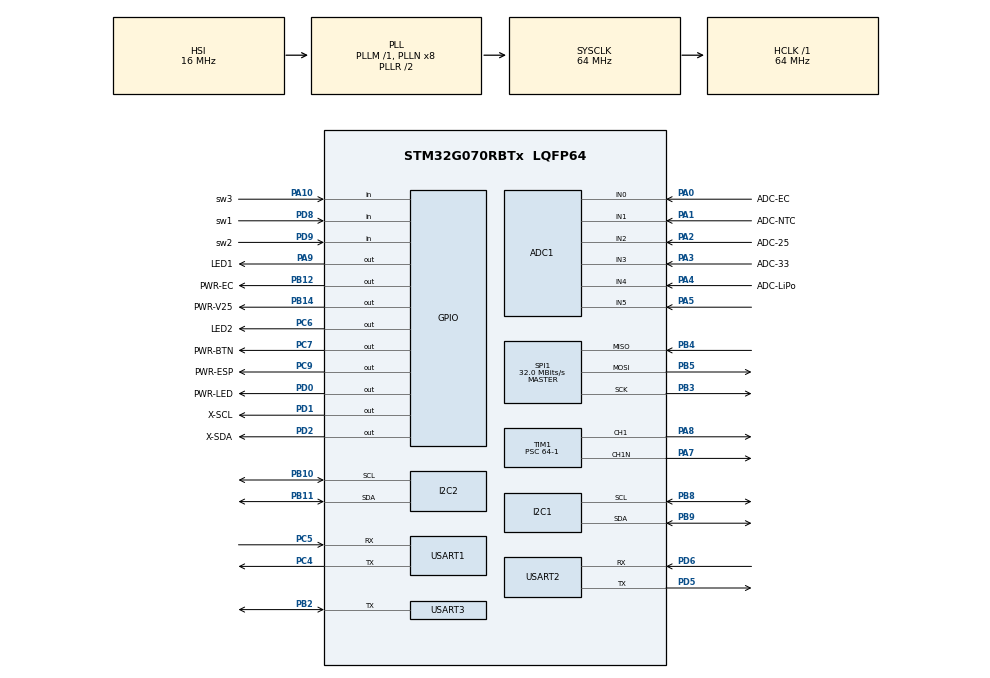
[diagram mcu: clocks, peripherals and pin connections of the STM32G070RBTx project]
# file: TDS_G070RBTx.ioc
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ADC1.Channel-0\#ChannelRegularConversion=ADC_CHANNEL_0
ADC1.NbrOfConversionFlag=1
ADC1.Rank-0\#ChannelRegularConversion=1
ADC1.SamplingTime-0\#ChannelRegularConversion=ADC_SAMPLINGTIME_COMMON_1
ADC1.SelectedChannel=ADC_CHANNEL_0|ADC_CHANNEL_1|ADC_CHANNEL_2|ADC_CHANNEL_3|ADC_CHANNEL_4|ADC_CHANNEL_5|ADC_CHANNEL_VREFINT|ADC_CHANNEL_VBAT
ADC1.master=1
Dma.Request0=USART1_TX
Dma.USART1_TX.0.Direction=DMA_MEMORY_TO_PERIPH
Dma.USART1_TX.0.EventEnable=DISABLE
Dma.USART1_TX.0.Instance=DMA1_Channel1
Dma.USART1_TX.0.MemDataAlignment=DMA_MDATAALIGN_BYTE
Dma.USART1_TX.0.MemInc=DMA_MINC_ENABLE
Dma.USART1_TX.0.Mode=DMA_NORMAL
Dma.USART1_TX.0.PeriphDataAlignment=DMA_PDATAALIGN_BYTE
Dma.USART1_TX.0.PeriphInc=DMA_PINC_DISABLE
Dma.USART1_TX.0.Polarity=HAL_DMAMUX_REQ_GEN_RISING
Dma.USART1_TX.0.Priority=DMA_PRIORITY_LOW
Dma.USART1_TX.0.RequestNumber=1
Dma.USART1_TX.0.SignalID=NONE
Dma.USART1_TX.0.SyncEnable=DISABLE
Dma.USART1_TX.0.SyncPolarity=HAL_DMAMUX_SYNC_NO_EVENT
Dma.USART1_TX.0.SyncRequestNumber=1
Dma.USART1_TX.0.SyncSignalID=NONE
FREERTOS.Tasks01=defaultTask,24,128,StartDefaultTask,Default,NULL,Dynamic,NULL,NULL;blinkTask,8,128,startBlinkTask,Default,NULL,Dynamic,NULL,NULL;ds18b20Task,8,128,startDs18b20Task,Default,NULL,Dynamic,NULL,NULL;ntcTask,8,128,startNtcTask,Default,NULL,Dynamic,NULL,NULL;numDisplayTask,8,128,startNumDisplayTask,Default,NULL,Dynamic,NULL,NULL;uartTask,8,128,startUartTask,Default,NULL,Dynamic,NULL,NULL;ecTask,8,128,startEcTask,Default,NULL,Dynamic,NULL,NULL
FREERTOS.configTOTAL_HEAP_SIZE=4608
I2C1.Timing=0x10707DBC
I2C2.Timing=0x10707DBC
Mcu.Family=STM32G0
Mcu.Name=STM32G070RBTx
Mcu.Package=LQFP64
NVIC.DMA1_Channel1_IRQn=true\:3\:0\:false\:false\:true\:true\:false\:true
NVIC.TIM17_IRQn=true\:3\:0\:false\:false\:true\:false\:false\:true
NVIC.TimeBase=TIM17_IRQn
NVIC.TimeBaseIP=TIM17
PA0.GPIO_Label=ADC-EC
PA0.Mode=IN0
PA0.Signal=ADC1_IN0
PA1.GPIO_Label=ADC-NTC
PA1.Mode=IN1
PA1.Signal=ADC1_IN1
PA10.GPIO_Label=sw3
PA10.Signal=GPIO_Input
PA13.Mode=Serial_Wire
PA13.Signal=SYS_SWDIO
PA14-BOOT0.Mode=Serial_Wire
PA14-BOOT0.Signal=SYS_SWCLK
PA2.GPIO_Label=ADC-25
PA2.Mode=IN2
PA2.Signal=ADC1_IN2
PA3.GPIO_Label=ADC-33
PA3.Mode=IN3
PA3.Signal=ADC1_IN3
PA4.GPIO_Label=ADC-LiPo
PA4.Mode=IN4
PA4.Signal=ADC1_IN4
PA5.Mode=IN5
PA5.Signal=ADC1_IN5
PA7.Mode=Output Compare1 CH1 CH1N
PA7.Signal=TIM1_CH1N
PA8.Signal=S_TIM1_CH1
PA9.GPIO_Label=LED1
PA9.Signal=GPIO_Output
PB10.Mode=I2C
PB10.Signal=I2C2_SCL
PB11.Mode=I2C
PB11.Signal=I2C2_SDA
PB12.GPIO_Label=PWR-EC
PB12.Signal=GPIO_Output
PB14.GPIO_Label=PWR-V25
PB14.Signal=GPIO_Output
PB2.Mode=Half_duplex(single_wire_mode)
PB2.Signal=USART3_TX
PB3.Mode=Full_Duplex_Master
PB3.Signal=SPI1_SCK
PB4.Mode=Full_Duplex_Master
PB4.Signal=SPI1_MISO
PB5.Mode=Full_Duplex_Master
PB5.Signal=SPI1_MOSI
PB8.Mode=I2C
PB8.Signal=I2C1_SCL
PB9.Mode=I2C
PB9.Signal=I2C1_SDA
PC14-OSC32_IN\ (PC14).Mode=LSE-External-Oscillator
PC14-OSC32_IN\ (PC14).Signal=RCC_OSC32_IN
PC15-OSC32_OUT\ (PC15).Mode=LSE-External-Oscillator
PC15-OSC32_OUT\ (PC15).Signal=RCC_OSC32_OUT
PC4.Mode=Asynchronous
PC4.Signal=USART1_TX
PC5.Mode=Asynchronous
PC5.Signal=USART1_RX
PC6.GPIO_Label=LED2
PC6.Signal=GPIO_Output
PC7.GPIO_Label=PWR-BTN
PC7.Signal=GPIO_Output
PC9.GPIO_Label=PWR-ESP
PC9.GPIO_ModeDefaultOutputPP=GPIO_MODE_OUTPUT_OD
PC9.GPIO_PuPd=GPIO_NOPULL
PC9.Signal=GPIO_Output
PD0.GPIO_Label=PWR-LED
PD0.GPIO_ModeDefaultOutputPP=GPIO_MODE_OUTPUT_OD
PD0.GPIO_PuPd=GPIO_NOPULL
PD0.Signal=GPIO_Output
PD1.GPIO_Label=X-SCL
PD1.Signal=GPIO_Output
PD2.GPIO_Label=X-SDA
PD2.Signal=GPIO_Output
PD5.Mode=Asynchronous
PD5.Signal=USART2_TX
PD6.Mode=Asynchronous
PD6.Signal=USART2_RX
PD8.GPIO_Label=sw1
PD8.Signal=GPIO_Input
PD9.GPIO_Label=sw2
PD9.Signal=GPIO_Input
ProjectManager.HeapSize=0x200
ProjectManager.StackSize=0x400
ProjectManager.TargetToolchain=Makefile
RCC.ADCFreq_Value=64000000
RCC.AHBFreq_Value=64000000
RCC.CortexFreq_Value=64000000
RCC.EXTERNAL_CLOCK_VALUE=48000
RCC.EnableCSSLSE=true
RCC.HCLKFreq_Value=64000000
RCC.HSE_VALUE=8000000
RCC.HSI_VALUE=16000000
RCC.RTCClockSelection=RCC_RTCCLKSOURCE_LSE
RCC.SYSCLKFreq_VALUE=64000000
RCC.SYSCLKSource=RCC_SYSCLKSOURCE_PLLCLK
RCC.VCOOutputFreq_Value=128000000
SH.S_TIM1_CH1.0=TIM1_CH1,Output Compare1 CH1 CH1N
SPI1.CalculateBaudRate=32.0 MBits/s
SPI1.Direction=SPI_DIRECTION_2LINES
SPI1.Mode=SPI_MODE_MASTER
SPI1.VirtualType=VM_MASTER
TIM1.Channel-Output\ Compare1\ CH1\ CH1N=TIM_CHANNEL_1
TIM1.DeadTime=20
TIM1.OCMode_1=TIM_OCMODE_TOGGLE
TIM1.Period=100-1
TIM1.Prescaler=64-1
TIM1.TIM_MasterOutputTrigger=TIM_TRGO_ENABLE
TIM1.TIM_MasterSlaveMode=TIM_MASTERSLAVEMODE_ENABLE
TIM3.Period=0xffff-1
TIM3.Prescaler=64-1
USART1.VirtualMode-Asynchronous=VM_ASYNC
USART2.VirtualMode-Asynchronous=VM_ASYNC
USART3.VirtualMode-Half_duplex(single_wire_mode)=VM_ASYNC
VP_ADC1_Vbat_Input.Mode=IN-Vbat
VP_ADC1_Vref_Input.Mode=IN-Vrefint
VP_FREERTOS_VS_CMSIS_V2.Mode=CMSIS_V2
VP_RTC_VS_RTC_Activate.Mode=RTC_Enabled
VP_SYS_VS_DBSignals.Mode=DisableDeadBatterySignals
VP_SYS_VS_tim17.Mode=TIM17
VP_TIM3_VS_ClockSourceINT.Mode=Internal
board=custom

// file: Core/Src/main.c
/* USER CODE BEGIN Header */
/**
  ******************************************************************************
  * @file           : main.c
  * @brief          : Main program body
  ******************************************************************************
  * @attention
  *
  * Copyright (c) 2022 STMicroelectronics.
  * All rights reserved.
  *
  * This software is licensed under terms that can be found in the LICENSE file
  * in the root directory of this software component.
  * If no LICENSE file comes with this software, it is provided AS-IS.
  *
  ******************************************************************************
  */
/* USER CODE END Header */
#include "main.h"
#include "cmsis_os.h"
#include "adc.h"
#include "dma.h"
#include "i2c.h"
#include "rtc.h"
#include "spi.h"
#include "tim.h"
#include "usart.h"
#include "gpio.h"

void SystemClock_Config(void);
void MX_FREERTOS_Init(void);

int main(void)
{

  /* MCU Configuration--------------------------------------------------------*/

  /* Reset of all peripherals, Initializes the Flash interface and the Systick. */
  HAL_Init();

  /* Configure the system clock */
  SystemClock_Config();

  /* Initialize all configured peripherals */
  MX_GPIO_Init();
  MX_ADC1_Init();
  MX_I2C1_Init();
  MX_I2C2_Init();
  MX_SPI1_Init();
  MX_TIM1_Init();
  MX_USART1_UART_Init();
  MX_USART2_UART_Init();
  MX_USART3_UART_Init();
  MX_RTC_Init();
  MX_DMA_Init();
  MX_TIM3_Init();
  /* USER CODE BEGIN 2 */
  HAL_TIM_Base_Start(&htim3);
  /* USER CODE END 2 */

  /* Init scheduler */
  osKernelInitialize();  /* Call init function for freertos objects (in freertos.c) */
  MX_FREERTOS_Init();
  /* Start scheduler */
  osKernelStart();

  /* We should never get here as control is now taken by the scheduler */
  /* Infinite loop */
  while (1)
  {

  }
}

void SystemClock_Config(void)
{
  RCC_OscInitTypeDef RCC_OscInitStruct = {0};
  RCC_ClkInitTypeDef RCC_ClkInitStruct = {0};

  /** Configure the main internal regulator output voltage
  */
  HAL_PWREx_ControlVoltageScaling(PWR_REGULATOR_VOLTAGE_SCALE1);
  /** Configure LSE Drive Capability
  */
  HAL_PWR_EnableBkUpAccess();
  __HAL_RCC_LSEDRIVE_CONFIG(RCC_LSEDRIVE_LOW);
  /** Initializes the RCC Oscillators according to the specified parameters
  * in the RCC_OscInitTypeDef structure.
  */
  RCC_OscInitStruct.OscillatorType = RCC_OSCILLATORTYPE_HSI|RCC_OSCILLATORTYPE_LSE;
  RCC_OscInitStruct.LSEState = RCC_LSE_ON;
  RCC_OscInitStruct.HSIState = RCC_HSI_ON;
  RCC_OscInitStruct.HSIDiv = RCC_HSI_DIV1;
  RCC_OscInitStruct.HSICalibrationValue = RCC_HSICALIBRATION_DEFAULT;
  RCC_OscInitStruct.PLL.PLLState = RCC_PLL_ON;
  RCC_OscInitStruct.PLL.PLLSource = RCC_PLLSOURCE_HSI;
  RCC_OscInitStruct.PLL.PLLM = RCC_PLLM_DIV1;
  RCC_OscInitStruct.PLL.PLLN = 8;
  RCC_OscInitStruct.PLL.PLLP = RCC_PLLP_DIV2;
  RCC_OscInitStruct.PLL.PLLR = RCC_PLLR_DIV2;
  if (HAL_RCC_OscConfig(&RCC_OscInitStruct) != HAL_OK)
  {
    Error_Handler();
  }
  /** Initializes the CPU, AHB and APB buses clocks
  */
  RCC_ClkInitStruct.ClockType = RCC_CLOCKTYPE_HCLK|RCC_CLOCKTYPE_SYSCLK
                              |RCC_CLOCKTYPE_PCLK1;
  RCC_ClkInitStruct.SYSCLKSource = RCC_SYSCLKSOURCE_PLLCLK;
  RCC_ClkInitStruct.AHBCLKDivider = RCC_SYSCLK_DIV1;
  RCC_ClkInitStruct.APB1CLKDivider = RCC_HCLK_DIV1;

  if (HAL_RCC_ClockConfig(&RCC_ClkInitStruct, FLASH_LATENCY_2) != HAL_OK)
  {
    Error_Handler();
  }
  /** Enables the Clock Security System
  */
  HAL_RCC_EnableLSECSS();
}

void HAL_TIM_PeriodElapsedCallback(TIM_HandleTypeDef *htim)
{
  if (htim->Instance == TIM17) {
    HAL_IncTick();
  }
}

void Error_Handler(void)
{
  __disable_irq();
  while (1)
  {
  }
}

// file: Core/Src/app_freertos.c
/* USER CODE BEGIN Header */
/**
  ******************************************************************************
  * File Name          : app_freertos.c
  * Description        : Code for freertos applications
  ******************************************************************************
  * @attention
  *
  * Copyright (c) 2022 STMicroelectronics.
  * All rights reserved.
  *
  * This software is licensed under terms that can be found in the LICENSE file
  * in the root directory of this software component.
  * If no LICENSE file comes with this software, it is provided AS-IS.
  *
  ******************************************************************************
  */
/* USER CODE END Header */

#include "FreeRTOS.h"
#include "task.h"
#include "main.h"
#include "cmsis_os.h"

/* USER CODE BEGIN Includes */
#include "delay_micros.h"
#include "ds18b20.h"
#include "tim.h"
/* USER CODE END Includes */

/* Definitions for defaultTask */
osThreadId_t defaultTaskHandle;
const osThreadAttr_t defaultTask_attributes = {
  .name = "defaultTask",
  .priority = (osPriority_t) osPriorityNormal,
  .stack_size = 128 * 4
};
/* Definitions for blinkTask */
osThreadId_t blinkTaskHandle;
const osThreadAttr_t blinkTask_attributes = {
  .name = "blinkTask",
  .priority = (osPriority_t) osPriorityLow,
  .stack_size = 128 * 4
};
/* Definitions for ds18b20Task */
osThreadId_t ds18b20TaskHandle;
const osThreadAttr_t ds18b20Task_attributes = {
  .name = "ds18b20Task",
  .priority = (osPriority_t) osPriorityLow,
  .stack_size = 128 * 4
};
/* Definitions for ntcTask */
osThreadId_t ntcTaskHandle;
const osThreadAttr_t ntcTask_attributes = {
  .name = "ntcTask",
  .priority = (osPriority_t) osPriorityLow,
  .stack_size = 128 * 4
};
/* Definitions for numDisplayTask */
osThreadId_t numDisplayTaskHandle;
const osThreadAttr_t numDisplayTask_attributes = {
  .name = "numDisplayTask",
  .priority = (osPriority_t) osPriorityLow,
  .stack_size = 128 * 4
};
/* Definitions for uartTask */
osThreadId_t uartTaskHandle;
const osThreadAttr_t uartTask_attributes = {
  .name = "uartTask",
  .priority = (osPriority_t) osPriorityLow,
  .stack_size = 128 * 4
};
/* Definitions for ecTask */
osThreadId_t ecTaskHandle;
const osThreadAttr_t ecTask_attributes = {
  .name = "ecTask",
  .priority = (osPriority_t) osPriorityLow,
  .stack_size = 128 * 4
};

void StartDefaultTask(void *argument);
void startBlinkTask(void *argument);
void startDs18b20Task(void *argument);
void startNtcTask(void *argument);
void startNumDisplayTask(void *argument);
void startUartTask(void *argument);
void startEcTask(void *argument);

void MX_FREERTOS_Init(void); /* (MISRA C 2004 rule 8.1) */

void MX_FREERTOS_Init(void) {

  /* Create the thread(s) */
  /* creation of defaultTask */
  defaultTaskHandle = osThreadNew(StartDefaultTask, NULL, &defaultTask_attributes);

  /* creation of blinkTask */
  blinkTaskHandle = osThreadNew(startBlinkTask, NULL, &blinkTask_attributes);

  /* creation of ds18b20Task */
  // ds18b20TaskHandle = osThreadNew(startDs18b20Task, NULL, &ds18b20Task_attributes);

  /* creation of ntcTask */
  // ntcTaskHandle = osThreadNew(startNtcTask, NULL, &ntcTask_attributes);

  /* creation of numDisplayTask */
  // numDisplayTaskHandle = osThreadNew(startNumDisplayTask, NULL, &numDisplayTask_attributes);

  /* creation of uartTask */
  // uartTaskHandle = osThreadNew(startUartTask, NULL, &uartTask_attributes);

  /* creation of ecTask */
  ecTaskHandle = osThreadNew(startEcTask, NULL, &ecTask_attributes);

}

void StartDefaultTask(void *argument)
{
  /* USER CODE BEGIN StartDefaultTask */
  /* Infinite loop */
  HAL_GPIO_WritePin(PWR_ESP_GPIO_Port, PWR_ESP_Pin, GPIO_PIN_RESET);
  HAL_GPIO_WritePin(PWR_ESP_GPIO_Port, PWR_ESP_Pin, GPIO_PIN_RESET);
  for(;;)
  {
    HAL_GPIO_WritePin(PWR_LED_GPIO_Port, PWR_LED_Pin, GPIO_PIN_SET);
    osDelay(950);
    HAL_GPIO_WritePin(PWR_LED_GPIO_Port, PWR_LED_Pin, GPIO_PIN_RESET);
    osDelay(50);
  }
  /* USER CODE END StartDefaultTask */
}

void startBlinkTask(void *argument)
{
  /* USER CODE BEGIN startBlinkTask */
  /* Infinite loop */
  for(;;)
  {
    HAL_GPIO_WritePin(LED1_GPIO_Port, LED1_Pin, GPIO_PIN_SET);
    HAL_GPIO_WritePin(LED2_GPIO_Port, LED2_Pin, GPIO_PIN_SET);
    HAL_Delay(500);
    HAL_GPIO_WritePin(LED1_GPIO_Port, LED1_Pin, GPIO_PIN_RESET);
    HAL_GPIO_WritePin(LED2_GPIO_Port, LED2_Pin, GPIO_PIN_RESET);
    HAL_Delay(80);
    osDelay(1);
  }
  /* USER CODE END startBlinkTask */
}

void startDs18b20Task(void *argument)
{
  /* USER CODE BEGIN startDs18b20Task */
  int16_t temp_ds18 = 0;
  setResolution(DS18B20_Resolution_12_bit);
  /* Infinite loop */
  for(;;)
  {
    // // flag_ds18b20 = 0;

    DB18B20_PORT->BSRR = (uint32_t)DB18B20_PIN << 16u;
    delay_us(DELAY_RESET);
    DB18B20_PORT->BSRR = DB18B20_PIN;
    delay_us(DELAY_RESET);

    writeByte(SKIP_ROM);
    writeByte(CONVERT_T);

    osDelay(750);
    DB18B20_PORT->BSRR = (uint32_t)DB18B20_PIN << 16u;
    delay_us(DELAY_RESET);
    DB18B20_PORT->BSRR = DB18B20_PIN;
    delay_us(DELAY_RESET);

    writeByte(SKIP_ROM);
    writeByte(READ_SCRATCHPAD);

    temp_ds18 = 0;

    for (uint8_t i = 0; i < 16; i++)
      temp_ds18 += (int16_t)readBit() << i;

    // temp_ds18 = (1000 * temp_ds18 / 16);
    osDelay(1);
  }
  /* USER CODE END startDs18b20Task */
}

void startNtcTask(void *argument)
{
  /* USER CODE BEGIN startNtcTask */
  HAL_GPIO_WritePin(PWR_V25_GPIO_Port, PWR_V25_Pin, GPIO_PIN_RESET);
  /* Infinite loop */
  for(;;)
  {
    osDelay(1);
  }
  /* USER CODE END startNtcTask */
}

void startNumDisplayTask(void *argument)
{
  for(;;)
  {
    osDelay(1);
  }
}

void startUartTask(void *argument)
{
  for(;;)
  {
    osDelay(1);
  }
}

void startEcTask(void *argument)
{
  /* USER CODE BEGIN startEcTask */
  /* Infinite loop */
  HAL_GPIO_WritePin(PWR_EC_GPIO_Port, PWR_EC_Pin, GPIO_PIN_SET);
  // запускает PWM, и посылает триггер для запуска тим3
  HAL_TIM_OC_Start(&htim1, TIM_CHANNEL_1);
  HAL_TIMEx_OCN_Start(&htim1, TIM_CHANNEL_1);
  for(;;)
  {
    osDelay(1);
  }
  /* USER CODE END startEcTask */
}
